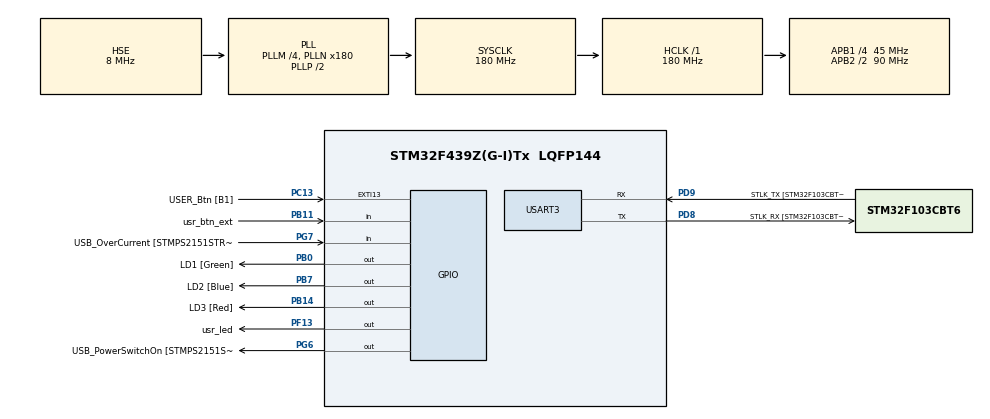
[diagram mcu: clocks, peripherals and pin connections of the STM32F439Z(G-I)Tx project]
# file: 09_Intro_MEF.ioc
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Mcu.Family=STM32F4
Mcu.Name=STM32F439Z(G-I)Tx
Mcu.Package=LQFP144
NVIC.PriorityGroup=NVIC_PRIORITYGROUP_4
PA13.GPIO_Label=TMS
PA13.Mode=Serial_Wire
PA13.Signal=SYS_JTMS-SWDIO
PA14.GPIO_Label=TCK
PA14.Mode=Serial_Wire
PA14.Signal=SYS_JTCK-SWCLK
PB0.GPIO_Label=LD1 [Green]
PB0.Signal=GPIO_Output
PB11.GPIO_Label=usr_btn_ext
PB11.GPIO_PuPd=GPIO_PULLUP
PB11.Signal=GPIO_Input
PB14.GPIO_Label=LD3 [Red]
PB14.Signal=GPIO_Output
PB7.GPIO_Label=LD2 [Blue]
PB7.Signal=GPIO_Output
PC13.GPIO_Label=USER_Btn [B1]
PC13.Signal=GPXTI13
PC14/OSC32_IN.Mode=LSE-External-Oscillator
PC14/OSC32_IN.Signal=RCC_OSC32_IN
PC15/OSC32_OUT.Mode=LSE-External-Oscillator
PC15/OSC32_OUT.Signal=RCC_OSC32_OUT
PD8.GPIO_Label=STLK_RX [STM32F103CBT6_PA3]
PD8.Mode=Asynchronous
PD8.Signal=USART3_TX
PD9.GPIO_Label=STLK_TX [STM32F103CBT6_PA2]
PD9.Mode=Asynchronous
PD9.Signal=USART3_RX
PF13.GPIO_Label=usr_led
PF13.Signal=GPIO_Output
PG6.GPIO_Label=USB_PowerSwitchOn [STMPS2151STR_EN]
PG6.Signal=GPIO_Output
PG7.GPIO_Label=USB_OverCurrent [STMPS2151STR_FAULT]
PG7.Signal=GPIO_Input
PH0/OSC_IN.GPIO_Label=MCO [STM32F103CBT6_PA8]
PH0/OSC_IN.Mode=HSE-External-Oscillator
PH0/OSC_IN.Signal=RCC_OSC_IN
PH1/OSC_OUT.Mode=HSE-External-Oscillator
PH1/OSC_OUT.Signal=RCC_OSC_OUT
ProjectManager.HeapSize=0x200
ProjectManager.StackSize=0x400
ProjectManager.TargetToolchain=STM32CubeIDE
RCC.48MHZClocksFreq_Value=51428571.428571425
RCC.AHBFreq_Value=180000000
RCC.APB1CLKDivider=RCC_HCLK_DIV4
RCC.APB1Freq_Value=45000000
RCC.APB1TimFreq_Value=90000000
RCC.APB2CLKDivider=RCC_HCLK_DIV2
RCC.APB2Freq_Value=90000000
RCC.APB2TimFreq_Value=180000000
RCC.CortexFreq_Value=180000000
RCC.HCLKFreq_Value=180000000
RCC.HSE_VALUE=8000000
RCC.HSI_VALUE=16000000
RCC.PLLM=4
RCC.PLLMUL=RCC_PLL_MUL9
RCC.PLLN=180
RCC.PLLQ=7
RCC.PLLSourceVirtual=RCC_PLLSOURCE_HSE
RCC.PRESCALERUSB=RCC_USBCLKSOURCE_PLL_DIV1_5
RCC.SYSCLKFreq_VALUE=180000000
RCC.SYSCLKSource=RCC_SYSCLKSOURCE_PLLCLK
RCC.SYSCLKSourceVirtual=RCC_SYSCLKSOURCE_PLLCLK
RCC.USBFreq_Value=48000000
RCC.VCOOutputFreq_Value=360000000
USART3.VirtualMode=VM_ASYNC
board=NUCLEO-F439ZI

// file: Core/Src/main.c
/* USER CODE BEGIN Header */
/**
  ******************************************************************************
  * @file           : main.c
  * @brief          : Main program body
  ******************************************************************************
  * @attention
  *
  * Copyright (c) 2026 STMicroelectronics.
  * All rights reserved.
  *
  * This software is licensed under terms that can be found in the LICENSE file
  * in the root directory of this software component.
  * If no LICENSE file comes with this software, it is provided AS-IS.
  *
  ******************************************************************************
  */
/* USER CODE END Header */
#include "main.h"

/* USER CODE BEGIN Includes */
#include <string.h>  // Necesaria para strlen()
#include <stdio.h>   // Útil si después quieres usar sprintf()
#include <stdbool.h> // Para manejar estados logicos
/* USER CODE END Includes */

UART_HandleTypeDef huart3;

/* USER CODE BEGIN PV */

// Definición de estados de la MEF
typedef enum {
    ESTADO_APAGADO,
    ESTADO_ENCENDIDO,
    ESTADO_PARPADEO
} estado_sistema_t;

// Variables de control
estado_sistema_t estadoActual = ESTADO_APAGADO;
uint32_t lastTick = 0;
bool botonPresionado = false;

/* USER CODE END PV */

void SystemClock_Config(void);
static void MX_GPIO_Init(void);
static void MX_USART3_UART_Init(void);
/* USER CODE BEGIN PFP */
/* Prototipos */
void Debug_Log(const char *msg);
/* USER CODE END PFP */

/* USER CODE BEGIN 0 */
void Debug_Log(const char *msg) {
    HAL_UART_Transmit(&huart3, (uint8_t*)msg, strlen(msg), 100);
}
/* USER CODE END 0 */

int main(void)
{

  /* MCU Configuration--------------------------------------------------------*/

  /* Reset of all peripherals, Initializes the Flash interface and the Systick. */
  HAL_Init();

  /* Configure the system clock */
  SystemClock_Config();

  /* Initialize all configured peripherals */
  MX_GPIO_Init();
  MX_USART3_UART_Init();
  /* USER CODE BEGIN 2 */
  // Mensajes de inicialización del sistema
    Debug_Log("\r\n==================================\r\n");
    Debug_Log("SISTEMA INICIALIZADO\r\n");
    Debug_Log("Proyecto: Intro a Maquinas de Estado\r\n");
    Debug_Log("Placa: Nucleo-F439ZI\r\n");
    Debug_Log("Config: PB11 (Pull-up) -> GND\r\n");
    Debug_Log("Presione el boton para cambiar de modo...\r\n");
    Debug_Log("==================================\r\n");
  /* USER CODE END 2 */

  /* Infinite loop */
  while (1)
  {

    /* USER CODE BEGIN 3 */
	  // 1. LÓGICA DE TRANSICIÓN (Detección de flanco de bajada en PB11)
	      // Leemos el pin: si es LOW (RESET) es porque el botón se presionó a GND
	      if (HAL_GPIO_ReadPin(usr_btn_ext_GPIO_Port,usr_btn_ext_Pin ) == GPIO_PIN_RESET) {
	          if (!botonPresionado) {
	              botonPresionado = true; // Flag para evitar saltos múltiples

	              // Máquina de Estados
	              switch (estadoActual) {
	                              case ESTADO_APAGADO:
	                                  estadoActual = ESTADO_ENCENDIDO;
	                                  Debug_Log("FSM: Cambio a estado ENCENDIDO\r\n");
	                                  break;

	                              case ESTADO_ENCENDIDO:
	                                  estadoActual = ESTADO_PARPADEO;
	                                  Debug_Log("FSM: Cambio a estado PARPADEO\r\n");
	                                  break;

	                              case ESTADO_PARPADEO:
	                                  estadoActual = ESTADO_APAGADO;
	                                  Debug_Log("FSM: Cambio a estado APAGADO\r\n");
	                                  break;
	                          }
	          }
	      } else {
	          // Cuando el pin vuelve a HIGH (SET), el botón se soltó
	          botonPresionado = false;
	      }

	      // 2. LÓGICA DE ESTADO (Acción de salida)
	      switch (estadoActual) {
	          case ESTADO_APAGADO:
	              HAL_GPIO_WritePin(usr_led_GPIO_Port, usr_led_Pin, GPIO_PIN_RESET);
	              break;
	          case ESTADO_ENCENDIDO:
	              HAL_GPIO_WritePin(usr_led_GPIO_Port, usr_led_Pin, GPIO_PIN_SET);
	              break;
	          case ESTADO_PARPADEO:
	              if (HAL_GetTick() - lastTick >= 200) {
	                  HAL_GPIO_TogglePin(usr_led_GPIO_Port, usr_led_Pin);
	                  lastTick = HAL_GetTick();
	              }
	              break;
	      }

  }
  /* USER CODE END 3 */
}

void SystemClock_Config(void)
{
  RCC_OscInitTypeDef RCC_OscInitStruct = {0};
  RCC_ClkInitTypeDef RCC_ClkInitStruct = {0};

  /** Configure the main internal regulator output voltage
  */
  __HAL_RCC_PWR_CLK_ENABLE();
  __HAL_PWR_VOLTAGESCALING_CONFIG(PWR_REGULATOR_VOLTAGE_SCALE1);

  /** Initializes the RCC Oscillators according to the specified parameters
  * in the RCC_OscInitTypeDef structure.
  */
  RCC_OscInitStruct.OscillatorType = RCC_OSCILLATORTYPE_HSE;
  RCC_OscInitStruct.HSEState = RCC_HSE_ON;
  RCC_OscInitStruct.PLL.PLLState = RCC_PLL_ON;
  RCC_OscInitStruct.PLL.PLLSource = RCC_PLLSOURCE_HSE;
  RCC_OscInitStruct.PLL.PLLM = 4;
  RCC_OscInitStruct.PLL.PLLN = 180;
  RCC_OscInitStruct.PLL.PLLP = RCC_PLLP_DIV2;
  RCC_OscInitStruct.PLL.PLLQ = 7;
  if (HAL_RCC_OscConfig(&RCC_OscInitStruct) != HAL_OK)
  {
    Error_Handler();
  }

  /** Activate the Over-Drive mode
  */
  if (HAL_PWREx_EnableOverDrive() != HAL_OK)
  {
    Error_Handler();
  }

  /** Initializes the CPU, AHB and APB buses clocks
  */
  RCC_ClkInitStruct.ClockType = RCC_CLOCKTYPE_HCLK|RCC_CLOCKTYPE_SYSCLK
                              |RCC_CLOCKTYPE_PCLK1|RCC_CLOCKTYPE_PCLK2;
  RCC_ClkInitStruct.SYSCLKSource = RCC_SYSCLKSOURCE_PLLCLK;
  RCC_ClkInitStruct.AHBCLKDivider = RCC_SYSCLK_DIV1;
  RCC_ClkInitStruct.APB1CLKDivider = RCC_HCLK_DIV4;
  RCC_ClkInitStruct.APB2CLKDivider = RCC_HCLK_DIV2;

  if (HAL_RCC_ClockConfig(&RCC_ClkInitStruct, FLASH_LATENCY_5) != HAL_OK)
  {
    Error_Handler();
  }
}

static void MX_USART3_UART_Init(void)
{

  huart3.Instance = USART3;
  huart3.Init.BaudRate = 115200;
  huart3.Init.WordLength = UART_WORDLENGTH_8B;
  huart3.Init.StopBits = UART_STOPBITS_1;
  huart3.Init.Parity = UART_PARITY_NONE;
  huart3.Init.Mode = UART_MODE_TX_RX;
  huart3.Init.HwFlowCtl = UART_HWCONTROL_NONE;
  huart3.Init.OverSampling = UART_OVERSAMPLING_16;
  if (HAL_UART_Init(&huart3) != HAL_OK)
  {
    Error_Handler();
  }

}

static void MX_GPIO_Init(void)
{
  GPIO_InitTypeDef GPIO_InitStruct = {0};

  /* GPIO Ports Clock Enable */
  __HAL_RCC_GPIOC_CLK_ENABLE();
  __HAL_RCC_GPIOH_CLK_ENABLE();
  __HAL_RCC_GPIOB_CLK_ENABLE();
  __HAL_RCC_GPIOF_CLK_ENABLE();
  __HAL_RCC_GPIOD_CLK_ENABLE();
  __HAL_RCC_GPIOG_CLK_ENABLE();
  __HAL_RCC_GPIOA_CLK_ENABLE();

  /*Configure GPIO pin Output Level */
  HAL_GPIO_WritePin(GPIOB, LD1_Pin|LD3_Pin|LD2_Pin, GPIO_PIN_RESET);

  /*Configure GPIO pin Output Level */
  HAL_GPIO_WritePin(usr_led_GPIO_Port, usr_led_Pin, GPIO_PIN_RESET);

  /*Configure GPIO pin Output Level */
  HAL_GPIO_WritePin(USB_PowerSwitchOn_GPIO_Port, USB_PowerSwitchOn_Pin, GPIO_PIN_RESET);

  /*Configure GPIO pin : USER_Btn_Pin */
  GPIO_InitStruct.Pin = USER_Btn_Pin;
  GPIO_InitStruct.Mode = GPIO_MODE_IT_RISING;
  GPIO_InitStruct.Pull = GPIO_NOPULL;
  HAL_GPIO_Init(USER_Btn_GPIO_Port, &GPIO_InitStruct);

  /*Configure GPIO pins : LD1_Pin LD3_Pin LD2_Pin */
  GPIO_InitStruct.Pin = LD1_Pin|LD3_Pin|LD2_Pin;
  GPIO_InitStruct.Mode = GPIO_MODE_OUTPUT_PP;
  GPIO_InitStruct.Pull = GPIO_NOPULL;
  GPIO_InitStruct.Speed = GPIO_SPEED_FREQ_LOW;
  HAL_GPIO_Init(GPIOB, &GPIO_InitStruct);

  /*Configure GPIO pin : usr_led_Pin */
  GPIO_InitStruct.Pin = usr_led_Pin;
  GPIO_InitStruct.Mode = GPIO_MODE_OUTPUT_PP;
  GPIO_InitStruct.Pull = GPIO_NOPULL;
  GPIO_InitStruct.Speed = GPIO_SPEED_FREQ_LOW;
  HAL_GPIO_Init(usr_led_GPIO_Port, &GPIO_InitStruct);

  /*Configure GPIO pin : usr_btn_ext_Pin */
  GPIO_InitStruct.Pin = usr_btn_ext_Pin;
  GPIO_InitStruct.Mode = GPIO_MODE_INPUT;
  GPIO_InitStruct.Pull = GPIO_PULLUP;
  HAL_GPIO_Init(usr_btn_ext_GPIO_Port, &GPIO_InitStruct);

  /*Configure GPIO pin : USB_PowerSwitchOn_Pin */
  GPIO_InitStruct.Pin = USB_PowerSwitchOn_Pin;
  GPIO_InitStruct.Mode = GPIO_MODE_OUTPUT_PP;
  GPIO_InitStruct.Pull = GPIO_NOPULL;
  GPIO_InitStruct.Speed = GPIO_SPEED_FREQ_LOW;
  HAL_GPIO_Init(USB_PowerSwitchOn_GPIO_Port, &GPIO_InitStruct);

  /*Configure GPIO pin : USB_OverCurrent_Pin */
  GPIO_InitStruct.Pin = USB_OverCurrent_Pin;
  GPIO_InitStruct.Mode = GPIO_MODE_INPUT;
  GPIO_InitStruct.Pull = GPIO_NOPULL;
  HAL_GPIO_Init(USB_OverCurrent_GPIO_Port, &GPIO_InitStruct);

}

void Error_Handler(void)
{
  __disable_irq();
  while (1)
  {
  }
}
